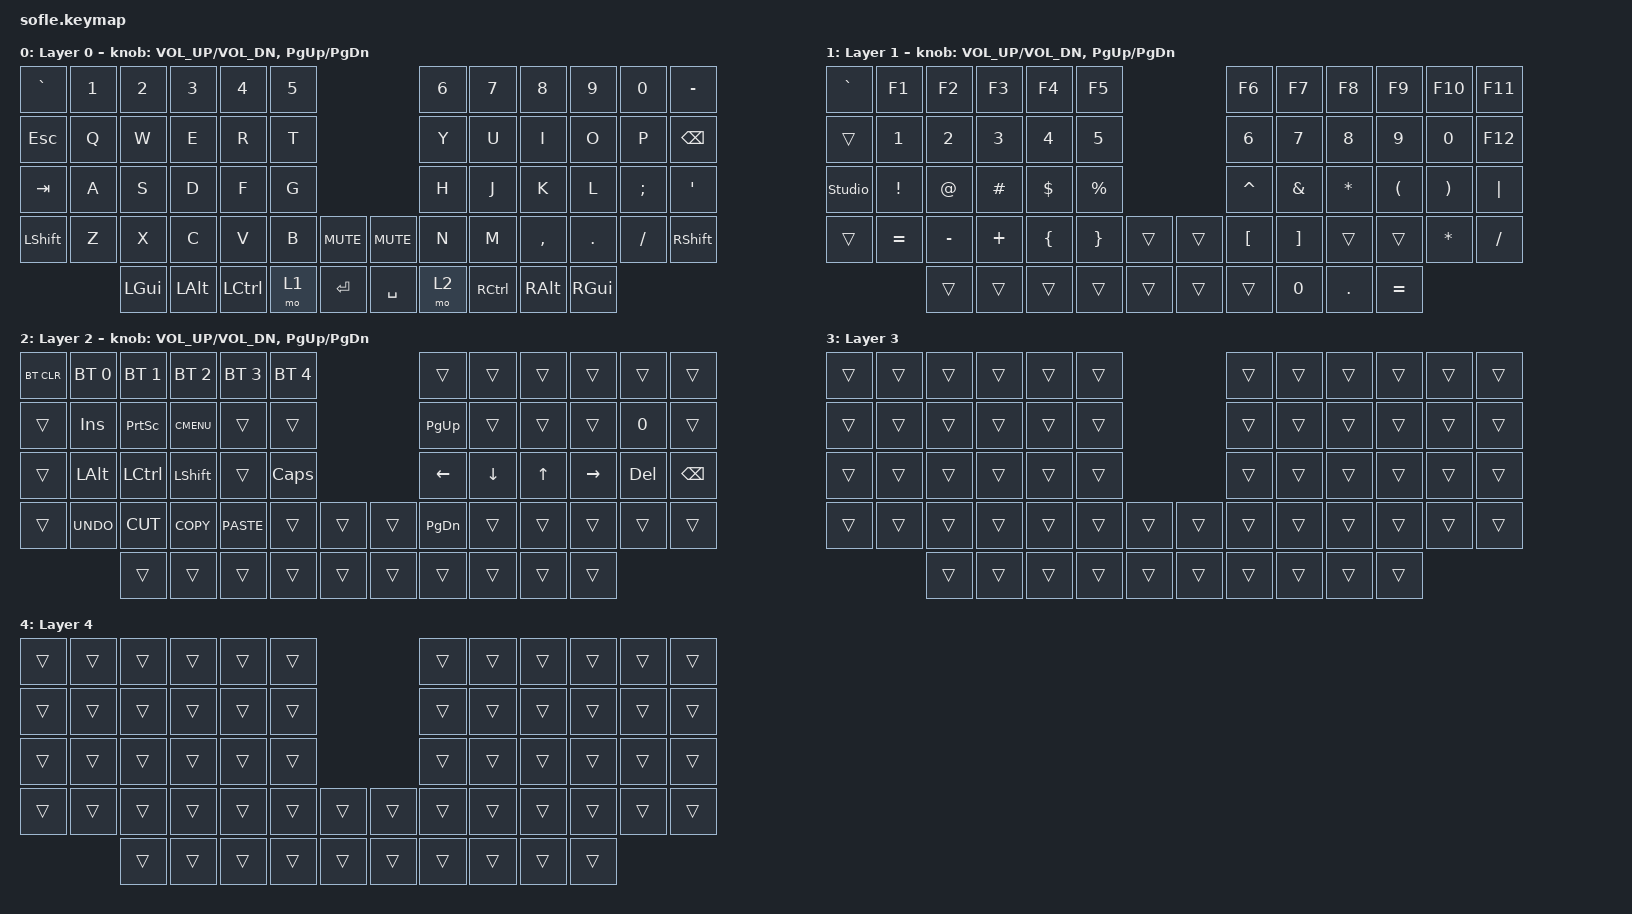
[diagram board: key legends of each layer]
/*
 * Copyright (c) 2020 The ZMK Contributors
 *
 * SPDX-License-Identifier: MIT
 */

#include <behaviors.dtsi>
#include <dt-bindings/zmk/bt.h>
#include <dt-bindings/zmk/keys.h>

&nice_view_spi { cs-gpios = <&pro_micro 0 GPIO_ACTIVE_HIGH>; };

/ {
    keymap {
        compatible = "zmk,keymap";

        default_layer {
            display-name = "Layer 0";

            // ------------------------------------------------------------------------------------------------------------
            // |  `    |  1  |  2  |  3   |  4   |  5   |                   |  6   |  7    |  8    |  9   |   0   |       |
            // |  ESC  |  Q  |  W  |  E   |  R   |  T   |                   |  Y   |  U    |  I    |  O   |   P   | BKSPC |
            // |  TAB  |  A  |  S  |  D   |  F   |  G   |                   |  H   |  J    |  K    |  L   |   ;   |   '   |
            // | SHIFT |  Z  |  X  |  C   |  V   |  B   |  MUTE  |  |       |  N   |  M    |  ,    |  .   |   /   | SHIFT |
            //               | GUI | ALT  | CTRL | LOWER|  ENTER |  | SPACE | RAISE| CTRL  | ALT   | GUI  |

            bindings = <
&kp GRAVE  &kp N1  &kp N2    &kp N3    &kp N4     &kp N5                            &kp N6  &kp N7     &kp N8     &kp N9    &kp N0    &kp MINUS
&kp ESC    &kp Q   &kp W     &kp E     &kp R      &kp T                             &kp Y   &kp U      &kp I      &kp O     &kp P     &kp BSPC
&kp TAB    &kp A   &kp S     &kp D     &kp F      &kp G                             &kp H   &kp J      &kp K      &kp L     &kp SEMI  &kp SQT
&kp LSHFT  &kp Z   &kp X     &kp C     &kp V      &kp B   &kp C_MUTE    &kp C_MUTE  &kp N   &kp M      &kp COMMA  &kp DOT   &kp FSLH  &kp RSHFT
                   &kp LGUI  &kp LALT  &kp LCTRL  &mo 1   &kp RET       &kp SPACE   &mo 2   &kp RCTRL  &kp RALT   &kp RGUI
            >;

            sensor-bindings = <&inc_dec_kp C_VOL_UP C_VOL_DN &inc_dec_kp PG_UP PG_DN>;
        };

        lower_layer {
            display-name = "Layer 1";

            // TODO: Some binds are waiting for shifted keycode support.
            // ------------------------------------------------------------------------------------------------------------
            // | `     |  F1 |  F2 |  F3  |  F4  |  F5  |                   |  F6  |  F7   |  F8   |  F9  |  F10  |  F11  |
            // | RAISE |   1 |   2 |   3  |   4  |   5  |                   |   6  |   7   |   8   |   9  |    0  |  F12  |
            // | STULC |  !  |  @  |  #   |  $   |  %   |                   |  ^   |  &    |  *    |  (   |   )   |   |   |
            // |       |  =  |  -  |  +   |  {   |  }   |        |  |       |  [   |  ]    |  ;    |  :   |   \   |       |
            //               |     |      |      |      |        |  |       |      |       |       |      |

            bindings = <
&kp GRAVE       &kp F1        &kp F2        &kp F3        &kp F4          &kp F5                             &kp F6     &kp F7             &kp F8        &kp F9                &kp F10                &kp F11
&trans          &kp NUMBER_1  &kp NUMBER_2  &kp NUMBER_3  &kp NUMBER_4    &kp NUMBER_5                       &kp N6     &kp N7             &kp N8        &kp N9                &kp NUMBER_0           &kp F12
&studio_unlock  &kp EXCL      &kp AT        &kp HASH      &kp DOLLAR      &kp PERCENT                        &kp CARET  &kp AMPERSAND      &kp ASTERISK  &kp LEFT_PARENTHESIS  &kp RIGHT_PARENTHESIS  &kp PIPE
&trans          &kp EQUAL     &kp MINUS     &kp PLUS      &kp LEFT_BRACE  &kp RIGHT_BRACE  &trans    &trans  &kp LBKT   &kp RIGHT_BRACKET  &trans        &trans                &kp ASTERISK           &kp SLASH
                              &trans        &trans        &trans          &trans           &trans    &trans  &trans     &kp N0             &kp PERIOD    &kp EQUAL
            >;

            sensor-bindings = <&inc_dec_kp C_VOL_UP C_VOL_DN &inc_dec_kp PG_UP PG_DN>;
        };

        raise_layer {
            display-name = "Layer 2";

            // ------------------------------------------------------------------------------------------------------------
            // |BTCLR| BT1  | BT2  |  BT3  |  BT4  |  BT5 |                |      |      |       |      |       |       |
            // |     | INS  | PSCR | GUI   |       |      |                | PGUP |      |       |      |       |       |
            // |     | ALT  | CTRL | SHIFT |       | CAPS |                |  <-  |   v  |   ^   |  ->  |  DEL  | BKSPC |
            // |     | UNDO | CUT  | COPY  | PASTE |      |      |  |      |      |      |       |      |       |       |
            //              |      |       |       |      |      |  |      |      |      |       |      |

            bindings = <
&bt BT_CLR  &bt BT_SEL 0  &bt BT_SEL 1  &bt BT_SEL 2  &bt BT_SEL 3  &bt BT_SEL 4                    &trans         &trans    &trans  &trans     &trans   &trans
&trans      &kp INS       &kp PSCRN     &kp K_CMENU   &trans        &trans                          &kp PG_UP      &trans    &trans  &trans     &kp N0   &trans
&trans      &kp LALT      &kp LCTRL     &kp LSHFT     &trans        &kp CLCK                        &kp LEFT       &kp DOWN  &kp UP  &kp RIGHT  &kp DEL  &kp BSPC
&trans      &kp K_UNDO    &kp K_CUT     &kp K_COPY    &kp K_PASTE   &trans        &trans    &trans  &kp PAGE_DOWN  &trans    &trans  &trans     &trans   &trans
                          &trans        &trans        &trans        &trans        &trans    &trans  &trans         &trans    &trans  &trans
            >;

            sensor-bindings = <&inc_dec_kp C_VOL_UP C_VOL_DN &inc_dec_kp PG_UP PG_DN>;
        };

        layer_3 {
            display-name = "Layer 3";
            bindings = <
&trans  &trans  &trans  &trans  &trans  &trans                    &trans  &trans  &trans  &trans  &trans  &trans
&trans  &trans  &trans  &trans  &trans  &trans                    &trans  &trans  &trans  &trans  &trans  &trans
&trans  &trans  &trans  &trans  &trans  &trans                    &trans  &trans  &trans  &trans  &trans  &trans
&trans  &trans  &trans  &trans  &trans  &trans  &trans    &trans  &trans  &trans  &trans  &trans  &trans  &trans
                &trans  &trans  &trans  &trans  &trans    &trans  &trans  &trans  &trans  &trans
            >;
        };

        layer_4 {
            display-name = "Layer 4";
            bindings = <
&trans  &trans  &trans  &trans  &trans  &trans                    &trans  &trans  &trans  &trans  &trans  &trans
&trans  &trans  &trans  &trans  &trans  &trans                    &trans  &trans  &trans  &trans  &trans  &trans
&trans  &trans  &trans  &trans  &trans  &trans                    &trans  &trans  &trans  &trans  &trans  &trans
&trans  &trans  &trans  &trans  &trans  &trans  &trans    &trans  &trans  &trans  &trans  &trans  &trans  &trans
                &trans  &trans  &trans  &trans  &trans    &trans  &trans  &trans  &trans  &trans
            >;
        };
    };
};
